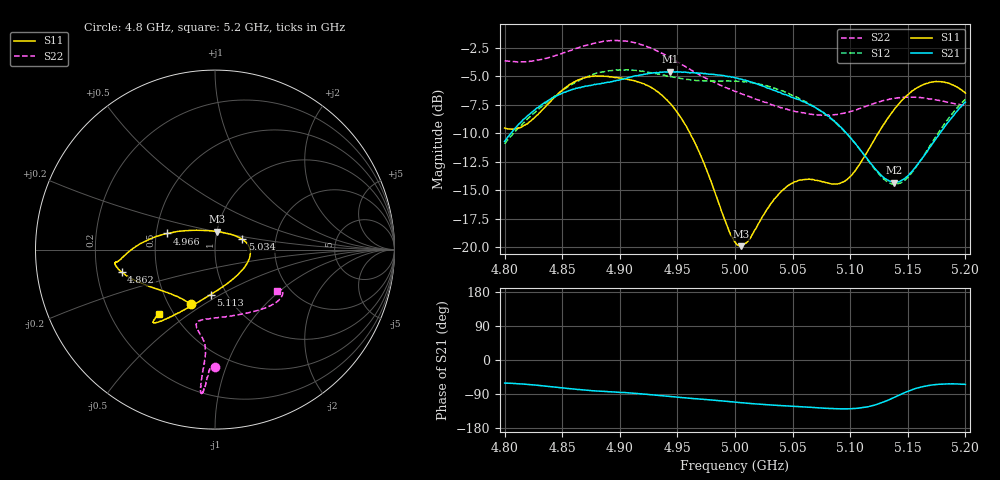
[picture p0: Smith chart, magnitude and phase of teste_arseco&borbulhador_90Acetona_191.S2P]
! Network Analyzer HP8722D
! Hewlett-Packard
! Data name: Linha & Wilkinson
! Saver's name: Rodrigo Anjos
! Comments: Teste da utilização de aquisição
! continua pelo VNA HP8722D
! Time and date: 17/4/2025 12:38
!  Frequency  S11  S21  S12  S22
# HZ  S  MA R 50
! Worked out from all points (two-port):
!   401 points, 4.8 GHz to 5.2 GHz, reference 50 ohm
!   highest |S21| = -4.61 dB at 4.944 GHz (marker M1); lowest = -14.3 dB at 5.138 GHz (marker M2)
!   |S21| within 3 dB of the highest: 4.831 GHz to 5.067 GHz (236 MHz wide, 4.77 % of centre); 5.196848 GHz to end of sweep
!   lowest |S11| = -19.9 dB at 5.005 GHz (marker M3), VSWR 1.22, Z = 50.3 + j10.2 ohm
!   |S11| at or under -10 dB: 4.961 GHz to 5.124 GHz (163.4 MHz wide, 3.24 % of centre)
!   |S22| runs from -8.5 to -1.9 dB; largest |S21 - S12| = 0.88
!   S11 on the Smith chart (normalised r, x): 4.8 GHz: 0.64, -0.44; 4.862 GHz: 0.31, -0.11; 4.966 GHz: 0.57, +0.11; 5.034 GHz: 1.35, +0.16; 5.113 GHz: 0.84, -0.45; 5.2 GHz: 0.42, -0.39
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4.8e9  0.3327 -113.9  0.2906 -60.9  0.2839 -175.2  0.6561 -89.9
4.819e9  0.3461 -133.9  0.3725 -64.3  0.3607 -173.8  0.6507 -91.5
4.862e9  0.535 -166.4  0.4975 -77.3  0.5308 -177.1  0.7434 -93.8
4.867e9  0.5484 -168.4  0.5034 -78.7  0.5453 -178.0  0.7566 -93.9
4.902e9  0.5488 -173.0  0.5449 -85.5  0.5991 175.0  0.8028 -95.5
4.934e9  0.4753 -179.1  0.5831 -93.6  0.5746 171.8  0.718 -95.9
4.944e9  0.4254 176.3  0.5879 -96.3  0.5582 171.8  0.6763 -95.7
4.966e9  0.2812 161.3  0.5799 -102.1  0.5376 173.7  0.5811 -95.2
5e9  0.1054 99.6  0.5524 -111.2  0.5341 176.1  0.4818 -99.4
5.005e9  0.1009 82.5  0.5457 -112.6  0.5325 176.1  0.471 -100.7
5.012e9  0.1076 60.5  0.5327 -114.3  0.5273 175.7  0.4579 -102.1
5.034e9  0.1622 21.0  0.4863 -119.3  0.4981 174.6  0.4171 -103.8
5.05e9  0.1907 4.8  0.4529 -122.2  0.4622 173.9  0.3961 -100.0
5.067e9  0.1979 -13.4  0.4157 -125.2  0.4173 173.5  0.3817 -91.1
5.093e9  0.1922 -57.7  0.3309 -128.9  0.3296 174.0  0.3853 -70.8
5.113e9  0.2524 -95.7  0.2499 -124.6  0.2503 180.0  0.4129 -55.2
5.134e9  0.3754 -116.9  0.1949 -104.4  0.1912 -157.4  0.4454 -43.2
5.138e9  0.4007 -119.3  0.1919 -98.8  0.1889 -151.0  0.4486 -41.3
5.151e9  0.4698 -125.0  0.2075 -81.4  0.2053 -131.0  0.4547 -36.5
5.17e9  0.5283 -129.4  0.2772 -66.3  0.282 -112.6  0.4462 -32.1
5.184e9  0.5254 -130.7  0.3483 -63.1  0.3595 -107.4  0.4327 -31.2
5.2e9  0.4733 -131.2  0.4325 -64.4  0.4445 -106.6  0.4165 -33.6
